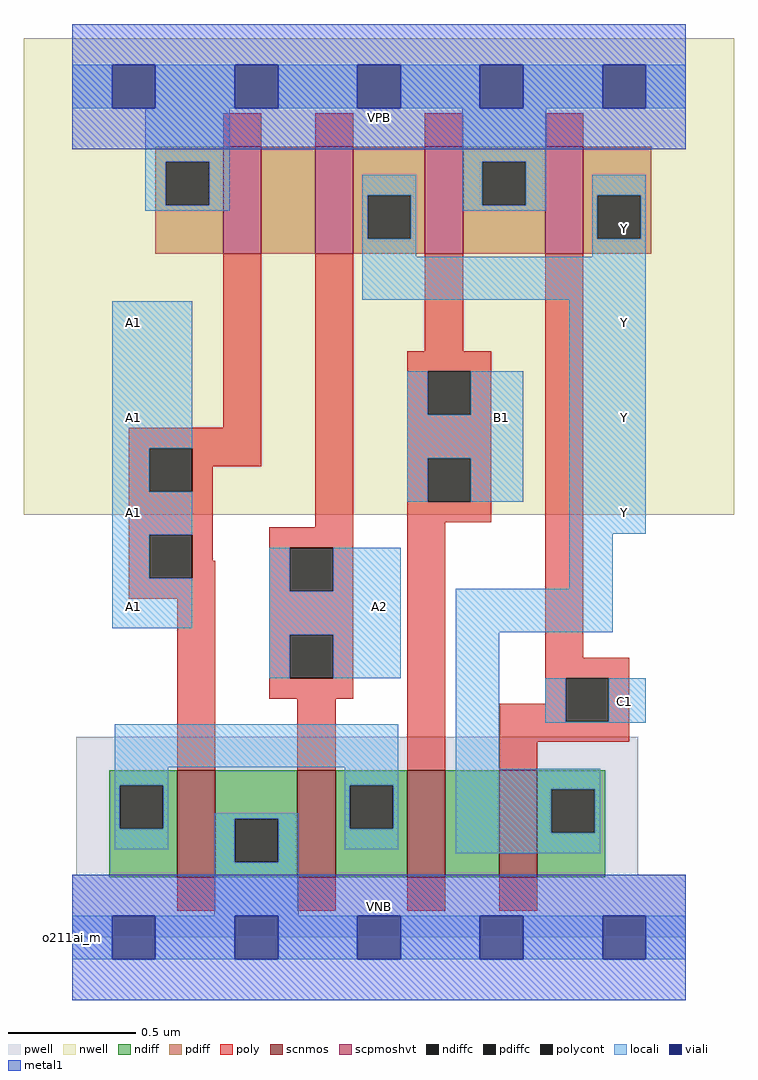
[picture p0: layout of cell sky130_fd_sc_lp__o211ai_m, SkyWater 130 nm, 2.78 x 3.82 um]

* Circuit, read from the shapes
.subckt sky130_fd_sc_lp__o211ai_m A1 A2 B1 C1 VGND VNB VPB VPWR Y
XM1 VGND A1 n1 VNB sky130_fd_pr__nfet_01v8 w=0.42 l=0.15
XM2 n1 A2 VGND VNB sky130_fd_pr__nfet_01v8 w=0.42 l=0.15
XM3 n2 B1 n1 VNB sky130_fd_pr__nfet_01v8 w=0.42 l=0.15
XM4 Y C1 n2 VNB sky130_fd_pr__nfet_01v8 w=0.42 l=0.15
XM5 n3 A1 VPWR VPB sky130_fd_pr__pfet_01v8_hvt w=0.42 l=0.15
XM6 Y A2 n3 VPB sky130_fd_pr__pfet_01v8_hvt w=0.42 l=0.15
XM7 VPWR B1 Y VPB sky130_fd_pr__pfet_01v8_hvt w=0.42 l=0.15
XM8 Y C1 VPWR VPB sky130_fd_pr__pfet_01v8_hvt w=0.42 l=0.15
.ends

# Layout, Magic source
magic
tech sky130A
magscale 1 2
<< nwell >>
rect -38 331 518 704
<< pwell >>
rect 3 49 443 157
rect 0 0 480 49
<< scnmos >>
rect 82 47 112 131
rect 176 47 206 131
rect 262 47 292 131
rect 334 47 364 131
<< scpmoshvt >>
rect 118 535 148 619
rect 190 535 220 619
rect 276 535 306 619
rect 370 535 400 619
<< ndiff >>
rect 29 119 82 131
rect 29 85 37 119
rect 71 85 82 119
rect 29 47 82 85
rect 112 93 176 131
rect 112 59 127 93
rect 161 59 176 93
rect 112 47 176 59
rect 206 119 262 131
rect 206 85 217 119
rect 251 85 262 119
rect 206 47 262 85
rect 292 47 334 131
rect 364 116 417 131
rect 364 82 375 116
rect 409 82 417 116
rect 364 47 417 82
<< pdiff >>
rect 65 607 118 619
rect 65 573 73 607
rect 107 573 118 607
rect 65 535 118 573
rect 148 535 190 619
rect 220 581 276 619
rect 220 547 231 581
rect 265 547 276 581
rect 220 535 276 547
rect 306 607 370 619
rect 306 573 321 607
rect 355 573 370 607
rect 306 535 370 573
rect 400 581 453 619
rect 400 547 411 581
rect 445 547 453 581
rect 400 535 453 547
<< ndiffc >>
rect 37 85 71 119
rect 127 59 161 93
rect 217 85 251 119
rect 375 82 409 116
<< pdiffc >>
rect 73 573 107 607
rect 231 547 265 581
rect 321 573 355 607
rect 411 547 445 581
<< poly >>
rect 118 619 148 645
rect 190 619 220 645
rect 276 619 306 645
rect 370 619 400 645
rect 118 399 148 535
rect 44 383 148 399
rect 44 349 60 383
rect 94 369 148 383
rect 94 349 110 369
rect 44 315 110 349
rect 190 321 220 535
rect 276 459 306 535
rect 44 281 60 315
rect 94 295 110 315
rect 154 305 220 321
rect 94 281 112 295
rect 44 265 112 281
rect 82 131 112 265
rect 154 271 170 305
rect 204 271 220 305
rect 154 237 220 271
rect 154 203 170 237
rect 204 203 220 237
rect 154 187 220 203
rect 262 443 328 459
rect 262 409 278 443
rect 312 409 328 443
rect 262 375 328 409
rect 262 341 278 375
rect 312 341 328 375
rect 262 325 328 341
rect 176 131 206 187
rect 262 131 292 325
rect 370 219 400 535
rect 370 203 436 219
rect 370 183 386 203
rect 334 169 386 183
rect 420 169 436 203
rect 334 153 436 169
rect 334 131 364 153
rect 82 21 112 47
rect 176 21 206 47
rect 262 21 292 47
rect 334 21 364 47
<< polycont >>
rect 60 349 94 383
rect 60 281 94 315
rect 170 271 204 305
rect 170 203 204 237
rect 278 409 312 443
rect 278 341 312 375
rect 386 169 420 203
<< locali >>
rect 0 649 31 683
rect 65 649 127 683
rect 161 649 223 683
rect 257 649 319 683
rect 353 649 415 683
rect 449 649 480 683
rect 57 607 123 649
rect 57 573 73 607
rect 107 573 123 607
rect 305 607 371 649
rect 57 569 123 573
rect 227 581 269 597
rect 227 547 231 581
rect 265 547 269 581
rect 305 573 321 607
rect 355 573 371 607
rect 305 569 371 573
rect 407 581 449 597
rect 227 533 269 547
rect 407 547 411 581
rect 445 547 449 581
rect 407 533 449 547
rect 227 499 449 533
rect 31 383 94 498
rect 31 349 60 383
rect 31 315 94 349
rect 262 409 278 443
rect 312 409 353 443
rect 262 375 353 409
rect 262 341 278 375
rect 312 341 353 375
rect 31 281 60 315
rect 389 316 449 499
rect 31 242 94 281
rect 154 271 170 305
rect 204 271 257 305
rect 389 273 423 316
rect 154 237 257 271
rect 154 203 170 237
rect 204 203 257 237
rect 300 239 423 273
rect 33 133 255 167
rect 33 119 75 133
rect 33 85 37 119
rect 71 85 75 119
rect 213 119 255 133
rect 33 69 75 85
rect 111 93 177 97
rect 111 59 127 93
rect 161 59 177 93
rect 213 85 217 119
rect 251 85 255 119
rect 213 69 255 85
rect 300 132 334 239
rect 370 169 386 203
rect 420 169 449 203
rect 370 168 449 169
rect 300 116 413 132
rect 300 82 375 116
rect 409 82 413 116
rect 300 66 413 82
rect 111 17 177 59
rect 0 -17 31 17
rect 65 -17 127 17
rect 161 -17 223 17
rect 257 -17 319 17
rect 353 -17 415 17
rect 449 -17 480 17
<< viali >>
rect 31 649 65 683
rect 127 649 161 683
rect 223 649 257 683
rect 319 649 353 683
rect 415 649 449 683
rect 31 -17 65 17
rect 127 -17 161 17
rect 223 -17 257 17
rect 319 -17 353 17
rect 415 -17 449 17
<< metal1 >>
rect 0 683 480 715
rect 0 649 31 683
rect 65 649 127 683
rect 161 649 223 683
rect 257 649 319 683
rect 353 649 415 683
rect 449 649 480 683
rect 0 617 480 649
rect 0 17 480 49
rect 0 -17 31 17
rect 65 -17 127 17
rect 161 -17 223 17
rect 257 -17 319 17
rect 353 -17 415 17
rect 449 -17 480 17
rect 0 -49 480 -17
<< labels >>
flabel pwell s 0 0 480 49 0 FreeSans 200 0 0 0 VNB
port 6 nsew ground bidirectional
flabel nwell s 0 617 480 666 0 FreeSans 200 0 0 0 VPB
port 7 nsew power bidirectional
rlabel comment s 0 0 0 0 4 o211ai_m
flabel metal1 s 0 617 480 666 0 FreeSans 340 0 0 0 VPWR
port 8 nsew power bidirectional
flabel metal1 s 0 0 480 49 0 FreeSans 340 0 0 0 VGND
port 5 nsew ground bidirectional
flabel locali s 223 242 257 276 0 FreeSans 340 0 0 0 A2
port 2 nsew signal input
flabel locali s 415 316 449 350 0 FreeSans 340 0 0 0 Y
port 9 nsew signal output
flabel locali s 415 390 449 424 0 FreeSans 340 0 0 0 Y
port 9 nsew signal output
flabel locali s 415 464 449 498 0 FreeSans 340 0 0 0 Y
port 9 nsew signal output
flabel locali s 415 538 449 572 0 FreeSans 340 0 0 0 Y
port 9 nsew signal output
flabel locali s 415 168 449 202 0 FreeSans 340 0 0 0 C1
port 4 nsew signal input
flabel locali s 31 242 65 276 0 FreeSans 340 0 0 0 A1
port 1 nsew signal input
flabel locali s 31 316 65 350 0 FreeSans 340 0 0 0 A1
port 1 nsew signal input
flabel locali s 31 390 65 424 0 FreeSans 340 0 0 0 A1
port 1 nsew signal input
flabel locali s 31 464 65 498 0 FreeSans 340 0 0 0 A1
port 1 nsew signal input
flabel locali s 319 390 353 424 0 FreeSans 340 0 0 0 B1
port 3 nsew signal input
<< properties >>
string LEFsite unit
string LEFclass CORE
string FIXED_BBOX 0 0 480 666
string GDS_FILE $PDKPATH/libs.ref/sky130_fd_sc_lp/gds/sky130_fd_sc_lp.gds
string LEFsymmetry X Y R90
string GDS_END 6894050
string GDS_START 6888426
<< end >>
